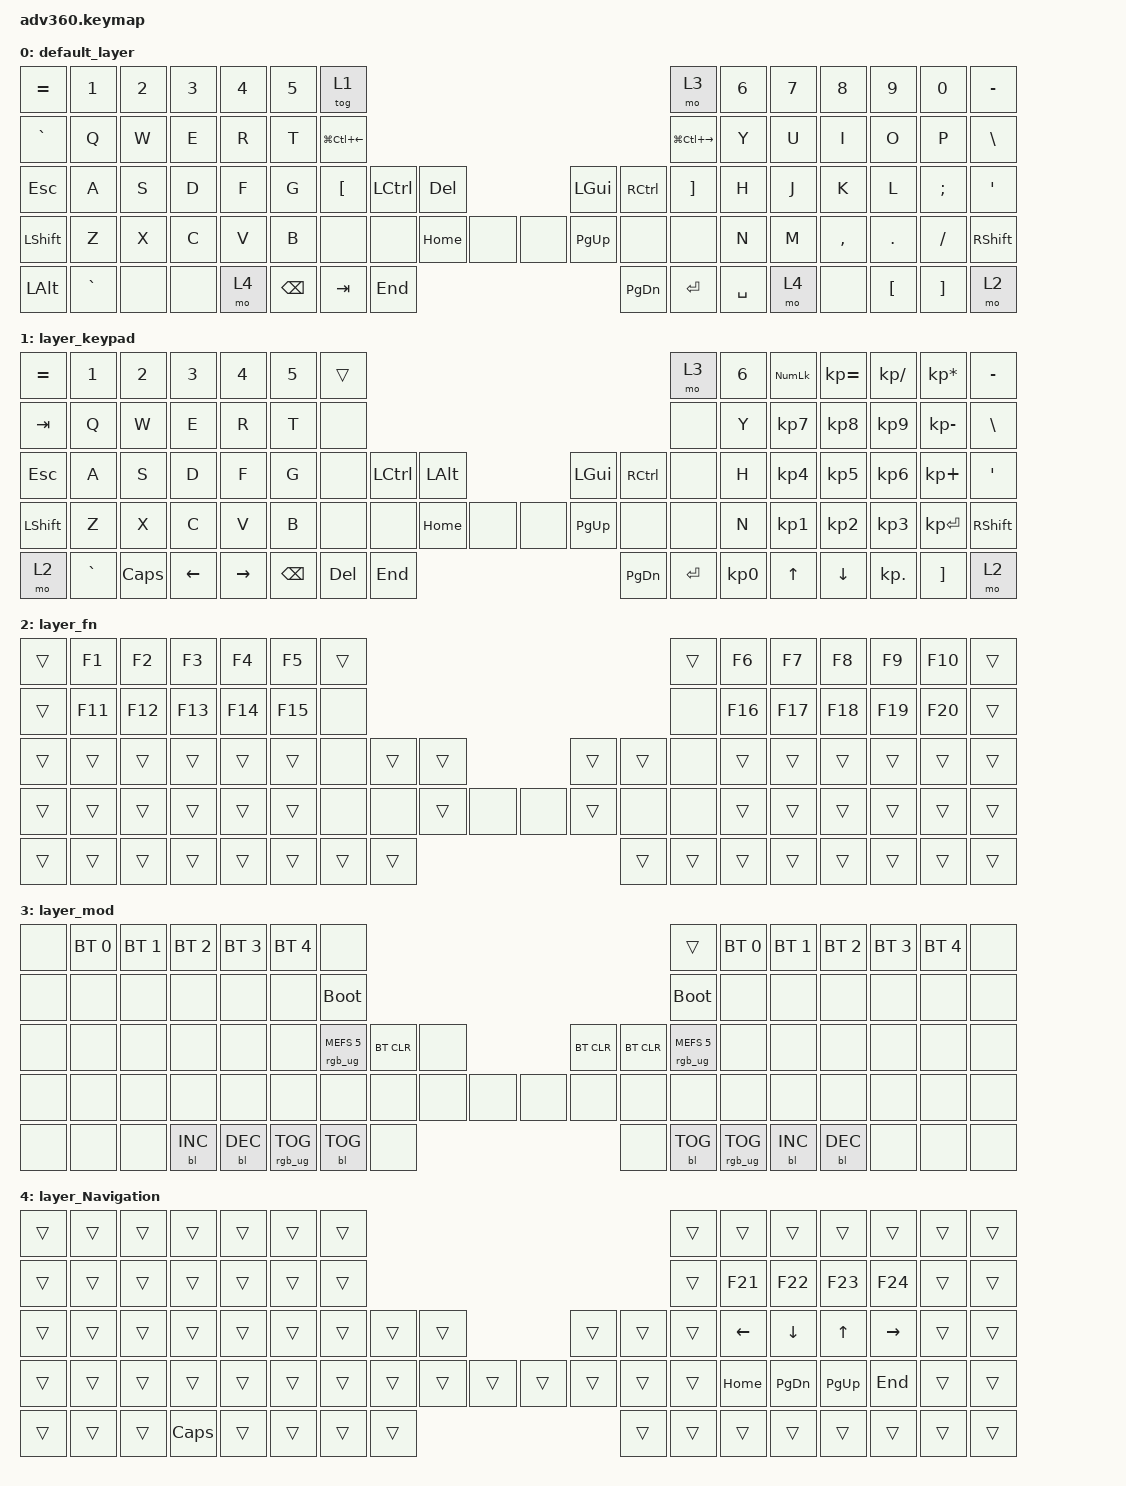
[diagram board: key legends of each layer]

/*
 * Copyright (c) 2020 The ZMK Contributors
 *
 * SPDX-License-Identifier: MIT
 */


/* THIS FILE WAS GENERATED!
 *
 * This file was generated automatically. You may or may not want to
 * edit it directly.
 */

#include <behaviors.dtsi>
#include <dt-bindings/zmk/keys.h>
#include <dt-bindings/zmk/bt.h>
#include <dt-bindings/zmk/rgb.h>
#include <dt-bindings/zmk/backlight.h>

/ {
  behaviors {
    #include "macros.dtsi"
    #include "version.dtsi"

    hm: homerow_mods {
        compatible = "zmk,behavior-hold-tap";
        label = "HOMEROW_MODS";
        #binding-cells = <2>;
        tapping-term-ms = <200>;
        quick_tap_ms = <175>;
        flavor = "tap-preferred";
        bindings = <&kp>, <&kp>;
    };
  };

    keymap {
        compatible = "zmk,keymap";


        default_layer {
            bindings = <
 &kp EQUAL     &kp N1  &kp N2  &kp N3  &kp N4  &kp N5                      &tog 1                                                                                 &mo 3  &kp N6  &kp N7     &kp N8    &kp N9    &kp N0  &kp MINUS
 &kp GRAVE      &kp Q   &kp W   &kp E   &kp R   &kp T            &kp LG(LC(LEFT))                                                                     &kp LG(LC(RIGHT))   &kp Y   &kp U      &kp I     &kp O     &kp P   &kp BSLH
   &kp ESC      &kp A   &kp S   &kp D   &kp F   &kp G            &kp LEFT_BRACKET  &kp LCTRL   &kp DEL                   &kp LGUI  &kp RIGHT_CONTROL  &kp RIGHT_BRACKET   &kp H   &kp J      &kp K     &kp L  &kp SEMI    &kp SQT
 &kp LSHFT      &kp Z   &kp X   &kp C   &kp V   &kp B                       &none      &none  &kp HOME   &none   &none  &kp PG_UP              &none              &none   &kp N   &kp M  &kp COMMA   &kp DOT  &kp FSLH  &kp RSHFT
  &kp LALT  &kp GRAVE   &none   &none   &mo 4                            &kp BSPC    &kp TAB   &kp END                  &kp PG_DN          &kp ENTER          &kp SPACE           &mo 4      &none  &kp LBKT  &kp RBKT      &mo 2
            >;
        };

        layer_keypad {
            bindings = <
 &kp EQUAL     &kp N1    &kp N2    &kp N3     &kp N4  &kp N5              &trans                                                                 &mo 3  &kp N6  &kp KP_NUM  &kp KP_EQUAL  &kp KP_DIVIDE  &kp KP_MULTIPLY  &kp MINUS
   &kp TAB      &kp Q     &kp W     &kp E      &kp R   &kp T               &none                                                                 &none   &kp Y   &kp KP_N7     &kp KP_N8      &kp KP_N9     &kp KP_MINUS   &kp BSLH
   &kp ESC      &kp A     &kp S     &kp D      &kp F   &kp G               &none  &kp LCTRL  &kp LALT                   &kp LGUI  &kp RCTRL      &none   &kp H   &kp KP_N4     &kp KP_N5      &kp KP_N6      &kp KP_PLUS    &kp SQT
 &kp LSHFT      &kp Z     &kp X     &kp C      &kp V   &kp B               &none      &none  &kp HOME   &none   &none  &kp PG_UP      &none      &none   &kp N   &kp KP_N1     &kp KP_N2      &kp KP_N3     &kp KP_ENTER  &kp RSHFT
     &mo 2  &kp GRAVE  &kp CAPS  &kp LEFT  &kp RIGHT                    &kp BSPC    &kp DEL   &kp END                  &kp PG_DN  &kp ENTER  &kp KP_N0              &kp UP      &kp DOWN     &kp KP_DOT         &kp RBKT      &mo 2
            >;
        };

        layer_fn {
            bindings = <
 &trans   &kp F1   &kp F2   &kp F3   &kp F4   &kp F5            &trans                                                  &trans   &kp F6   &kp F7   &kp F8   &kp F9  &kp F10  &trans
 &trans  &kp F11  &kp F12  &kp F13  &kp F14  &kp F15             &none                                                   &none  &kp F16  &kp F17  &kp F18  &kp F19  &kp F20  &trans
 &trans   &trans   &trans   &trans   &trans   &trans             &none  &trans  &trans                  &trans  &trans   &none   &trans   &trans   &trans   &trans   &trans  &trans
 &trans   &trans   &trans   &trans   &trans   &trans             &none   &none  &trans   &none   &none  &trans   &none   &none   &trans   &trans   &trans   &trans   &trans  &trans
 &trans   &trans   &trans   &trans   &trans                     &trans  &trans  &trans                  &trans  &trans  &trans            &trans   &trans   &trans   &trans  &trans
            >;
        };

        layer_mod {
            bindings = <
  &none  &bt BT_SEL 0  &bt BT_SEL 1  &bt BT_SEL 2  &bt BT_SEL 3  &bt BT_SEL 4                             &none                                                                              &trans  &bt BT_SEL 0  &bt BT_SEL 1  &bt BT_SEL 2  &bt BT_SEL 3  &bt BT_SEL 4   &none
  &none         &none         &none         &none         &none         &none                       &bootloader                                                                         &bootloader         &none         &none         &none         &none         &none   &none
  &none         &none         &none         &none         &none         &none            &rgb_ug RGB_MEFS_CMD 5  &bt BT_CLR   &none                  &bt BT_CLR  &bt BT_CLR  &rgb_ug RGB_MEFS_CMD 5         &none         &none         &none         &none         &none   &none
  &none         &none         &none         &none         &none         &none                             &none       &none   &none   &none   &none       &none       &none                   &none         &none         &none         &none         &none         &none   &none
  &none         &none         &none    &bl BL_INC    &bl BL_DEC                                 &rgb_ug RGB_TOG  &bl BL_TOG   &none                       &none  &bl BL_TOG         &rgb_ug RGB_TOG                  &bl BL_INC    &bl BL_DEC         &none         &none   &none
            >;
        };

        layer_Navigation {
            bindings = <
 &trans  &trans  &trans        &trans  &trans  &trans            &trans                                                  &trans    &trans         &trans     &trans     &trans  &trans  &trans
 &trans  &trans  &trans        &trans  &trans  &trans            &trans                                                  &trans   &kp F21        &kp F22    &kp F23    &kp F24  &trans  &trans
 &trans  &trans  &trans        &trans  &trans  &trans            &trans  &trans  &trans                  &trans  &trans  &trans  &kp LEFT       &kp DOWN     &kp UP  &kp RIGHT  &trans  &trans
 &trans  &trans  &trans        &trans  &trans  &trans            &trans  &trans  &trans  &trans  &trans  &trans  &trans  &trans  &kp HOME  &kp PAGE_DOWN  &kp PG_UP    &kp END  &trans  &trans
 &trans  &trans  &trans  &kp CAPSLOCK  &trans                    &trans  &trans  &trans                  &trans  &trans  &trans                   &trans     &trans     &trans  &trans  &trans
            >;
        };

    };
};
